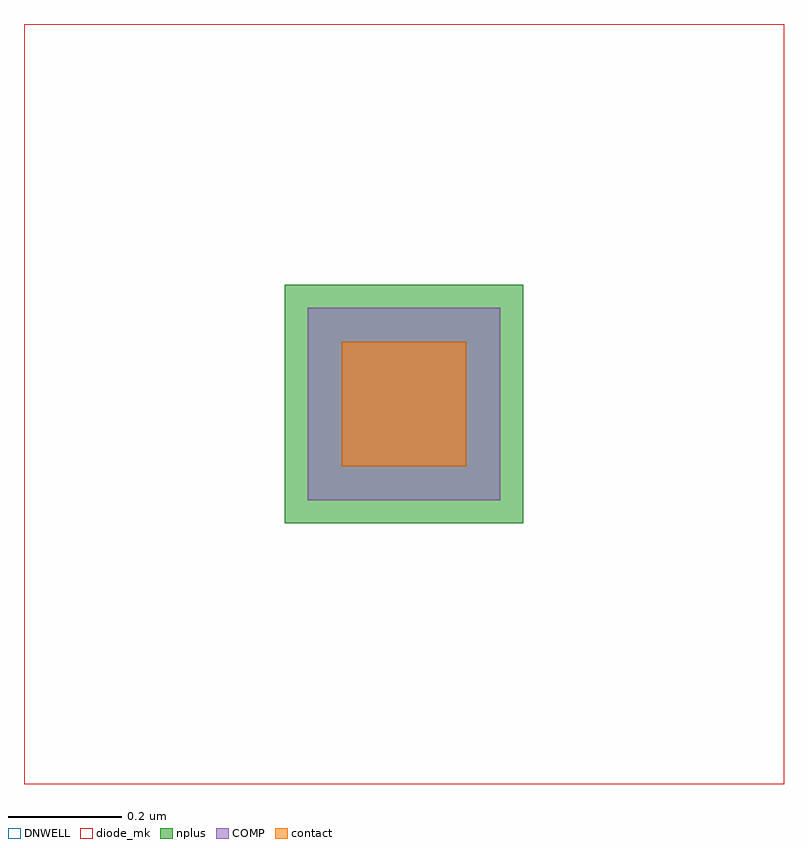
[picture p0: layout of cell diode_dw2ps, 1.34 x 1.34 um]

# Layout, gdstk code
import gdstk
lib = gdstk.Library(unit=1e-6, precision=1e-09)
def R(c, l, rs):  # rectangles x0, y0, x1, y1
    for r in rs: c.add(gdstk.rectangle(r[:2], r[2:], *l))
DNWELL = (12, 0)
COMP = (22, 0)
nplus = (32, 0)
contact = (33, 0)
diode_mk = (115, 5)

compass_5c90cb24 = lib.new_cell('compass_5c90cb24')
R(compass_5c90cb24, COMP, [(-0.05,-0.05,0.05,0.05)])

rectangle_5c90cb24 = lib.new_cell('rectangle_5c90cb24')
rectangle_5c90cb24.add(gdstk.Reference(compass_5c90cb24, (0.05,0.05)))

compass_f38dc993 = lib.new_cell('compass_f38dc993')
R(compass_f38dc993, contact, [(-0.11,-0.11,0.11,0.11)])

rectangle_f38dc993 = lib.new_cell('rectangle_f38dc993')
rectangle_f38dc993.add(gdstk.Reference(compass_f38dc993, (0.11,0.11)))

via_generator_fb634f5e = lib.new_cell('via_generator_fb634f5e')
r = gdstk.Reference(rectangle_f38dc993, (-0.06,-0.06)); r.repetition = gdstk.Repetition(1, 1, v1=(0.5,0), v2=(0,0.5)); via_generator_fb634f5e.add(r)

compass_9deecdff = lib.new_cell('compass_9deecdff')
R(compass_9deecdff, COMP, [(-0.17,-0.17,0.17,0.17)])

rectangle_9deecdff = lib.new_cell('rectangle_9deecdff')
rectangle_9deecdff.add(gdstk.Reference(compass_9deecdff, (0.17,0.17)))

via_stack_702b90f4 = lib.new_cell('via_stack_702b90f4')
via_stack_702b90f4.add(gdstk.Reference(via_generator_fb634f5e, (0,0)))
via_stack_702b90f4.add(gdstk.Reference(rectangle_9deecdff, (-0.12,-0.12)))

compass_4bdc5092 = lib.new_cell('compass_4bdc5092')
R(compass_4bdc5092, nplus, [(-0.21,-0.21,0.21,0.21)])

rectangle_4bdc5092 = lib.new_cell('rectangle_4bdc5092')
rectangle_4bdc5092.add(gdstk.Reference(compass_4bdc5092, (0.21,0.21)))

compass_a6b04c27 = lib.new_cell('compass_a6b04c27')
R(compass_a6b04c27, DNWELL, [(-0.67,-0.67,0.67,0.67)])

rectangle_a6b04c27 = lib.new_cell('rectangle_a6b04c27')
rectangle_a6b04c27.add(gdstk.Reference(compass_a6b04c27, (0.67,0.67)))

compass_71f5465f = lib.new_cell('compass_71f5465f')
R(compass_71f5465f, diode_mk, [(-0.67,-0.67,0.67,0.67)])

rectangle_71f5465f = lib.new_cell('rectangle_71f5465f')
rectangle_71f5465f.add(gdstk.Reference(compass_71f5465f, (0.67,0.67)))

diode_dw2ps = lib.new_cell('diode_dw2ps')
diode_dw2ps.add(gdstk.Reference(rectangle_5c90cb24, (0,0)))
diode_dw2ps.add(gdstk.Reference(via_stack_702b90f4, (0,0)))
diode_dw2ps.add(gdstk.Reference(rectangle_4bdc5092, (-0.16,-0.16)))
diode_dw2ps.add(gdstk.Reference(rectangle_a6b04c27, (-0.62,-0.62)))
diode_dw2ps.add(gdstk.Reference(rectangle_71f5465f, (-0.62,-0.62)))

lib.write_gds('diode_dw2ps.gds')
